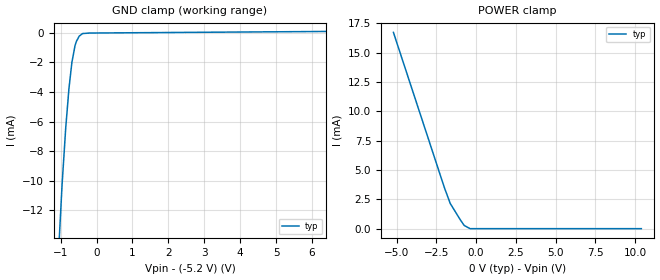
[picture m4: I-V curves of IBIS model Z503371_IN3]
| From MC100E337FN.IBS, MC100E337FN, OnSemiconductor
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| (C) COPYRIGHT 1993-2000
| MENTOR GRAPHICS CORPORATION
| ICX STANDARD LIBRARY, ICX PROJECT MODELING,
| ICX CUSTOM MODELING, ICX VENDOR MODEL
| ALL RIGHTS RESERVED.
| THE FOLLOWING ARE TRADEMARKS OR SERVICE MARKS OF
| MENTOR GRAPHICS CORPORATION:ICX (R), ICX STANDARD
| LIBRARY(R), ICX PROJECT MODELING(R), ICX CUSTOM
| MODELING(R), qualityIBIS(TM), MODELVIEWER(TM),
| AND MODELEDITOR(TM)
| ALL COPIES OF SOFTWARE, INCLUDING BUT NOT LIMITED TO
| ANY MODIFICATIONS, ENHANCEMENTS OR DERIVATIVE WORKS,
| MUST CONTAIN ALL MENTOR GRAPHICS CORPORATION'S
| NOTICES AND LEGENDS, INCLUDING THOSE EMBEDDED IN
| SOFTWARE AND THOSE AFFIXED TO SOFTWARE MEDIUM
| AND CONTAINER, AS RECEIVED FROM MENTOR GRAPHICS
| CORPORATION.
| Model Application Version 1.89 2/18/99.
[Model] Z503371_IN3
Model_type Input_ECL
Vinl = -1.475V
Vinh = -1.165V
C_comp 4.000pF NA NA
| variable typ   min   max
[Voltage Range] -5.200V NA NA
[GND Clamp Reference] -5.200V NA NA
[POWER Clamp Reference] 0.000V NA NA
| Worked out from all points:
|   GND clamp passes 1 mA (typ) near -0.61 V on its own axis
[GND Clamp]
-5.2V     -271.9mA   NA         NA
-1.058V   -14.76mA   NA         NA
-962mV    -10.28mA   NA         NA
-860mV    -6.423mA   NA         NA
-771mV    -3.786mA   NA         NA
-688mV    -2mA       NA         NA
-601mV    -872uA     NA         NA
-563mV    -583.7uA   NA         NA
-484mV    -227uA     NA         NA
-391mV    -53.48uA   NA         NA
-195.5mV  -17.78uA   NA         NA
10.4V     154uA      NA         NA
[POWER Clamp]
-5.2V     16.73mA    NA         NA
-1.991V   3.487mA    NA         NA
-1.623V   2.142mA    NA         NA
-1.001V   773.6uA    NA         NA
-747.1mV  273.4uA    NA         NA
-373.5mV  0A         NA         NA
10.4V     0A         NA         NA
